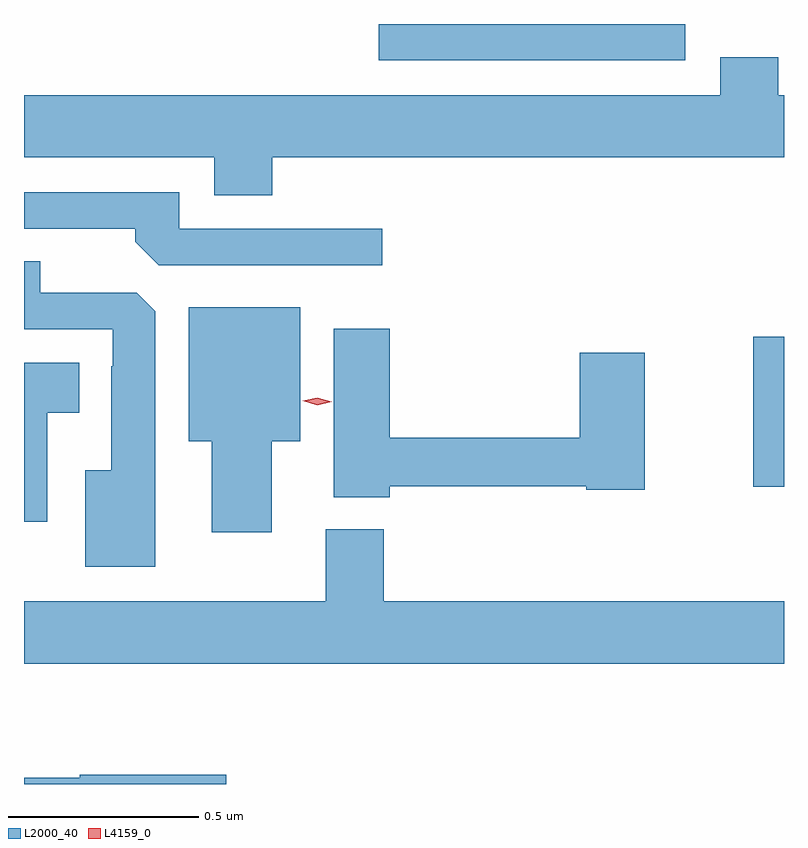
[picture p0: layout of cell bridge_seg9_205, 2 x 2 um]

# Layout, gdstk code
import gdstk
lib = gdstk.Library(unit=1e-6, precision=1e-09)
def R(c, l, rs):  # rectangles x0, y0, x1, y1
    for r in rs: c.add(gdstk.rectangle(r[:2], r[2:], *l))
def P(c, l, *ps):  # polygons
    for p in ps: c.add(gdstk.Polygon(p, *l))
L2000_40 = (2000, 40)
L4159_0 = (4159, 0)

bridge_seg9_205 = lib.new_cell('bridge_seg9_205')
R(bridge_seg9_205, L2000_40, [(169.784,1199.549,169.865,1199.944), (168.798,1200.672,169.605,1200.767)])
P(bridge_seg9_205, L2000_40, [(168.518,1200.416),(169.865,1200.416),(169.865,1200.58),(169.85,1200.58),(169.85,1200.679),(169.697,1200.679),(169.697,1200.58),(167.865,1200.58),(167.865,1200.416),(168.365,1200.416),(168.365,1200.317),(168.518,1200.317)],
  [(168.808,1200.228),(168.273,1200.228),(168.273,1200.324),(167.865,1200.324),(167.865,1200.228),(168.158,1200.228),(168.158,1200.194),(168.219,1200.132),(168.808,1200.132)],
  [(168.211,1200.011),(168.162,1200.06),(167.908,1200.06),(167.908,1200.143),(167.865,1200.143),(167.865,1199.964),(168.099,1199.964),(168.099,1199.867),(168.095,1199.867),(168.095,1199.593),(168.026,1199.593),(168.026,1199.339),(168.211,1199.339)],
  [(168.517,1199.669),(168.592,1199.669),(168.592,1200.022),(168.299,1200.022),(168.299,1199.669),(168.359,1199.669),(168.359,1199.43),(168.517,1199.43)],
  [(168.827,1199.55),(169.344,1199.55),(169.344,1199.542),(169.498,1199.542),(169.498,1199.902),(169.328,1199.902),(169.328,1199.678),(168.827,1199.678),(168.827,1199.965),(168.68,1199.965),(168.68,1199.522),(168.827,1199.522)],
  [(167.926,1199.744),(168.01,1199.744),(168.01,1199.875),(167.865,1199.875),(167.865,1199.457),(167.926,1199.457)],
  [(169.865,1199.248),(168.812,1199.248),(168.812,1199.437),(168.659,1199.437),(168.659,1199.248),(167.865,1199.248),(167.865,1199.084),(169.865,1199.084)],
  [(168.397,1198.791),(168.012,1198.791),(168.012,1198.783),(167.865,1198.783),(167.865,1198.767),(168.397,1198.767)])
P(bridge_seg9_205, L4159_0, [(168.637,1199.764),(168.599,1199.775),(168.599,1199.775),(168.599,1199.775),(168.637,1199.784),(168.675,1199.773),(168.675,1199.773),(168.675,1199.773)])

lib.write_gds('bridge_seg9_205.gds')
